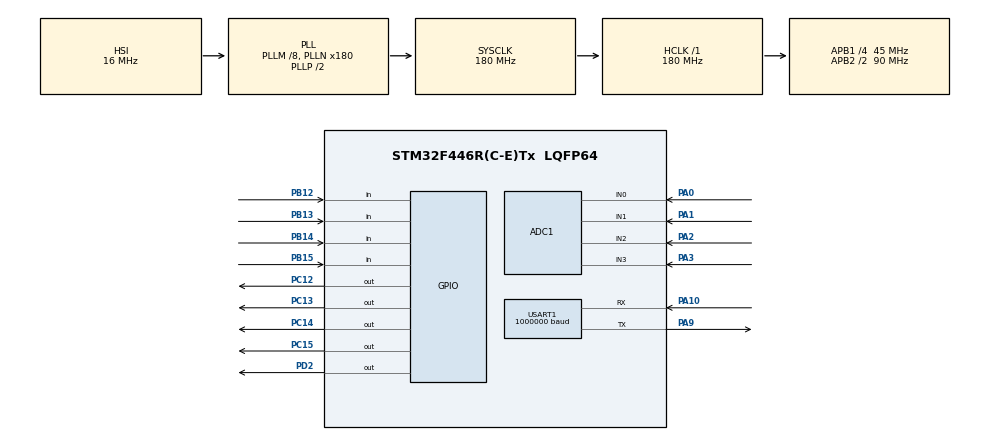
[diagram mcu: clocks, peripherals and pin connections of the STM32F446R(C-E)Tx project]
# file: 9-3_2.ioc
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ADC1.Channel-0\#ChannelRegularConversion=ADC_CHANNEL_0
ADC1.Channel-1\#ChannelRegularConversion=ADC_CHANNEL_1
ADC1.Channel-2\#ChannelRegularConversion=ADC_CHANNEL_2
ADC1.Channel-3\#ChannelRegularConversion=ADC_CHANNEL_3
ADC1.DMAContinuousRequests=ENABLE
ADC1.ExternalTrigConv=ADC_EXTERNALTRIGCONV_T8_TRGO
ADC1.NbrOfConversion=4
ADC1.NbrOfConversionFlag=1
ADC1.Rank-0\#ChannelRegularConversion=1
ADC1.Rank-1\#ChannelRegularConversion=2
ADC1.Rank-2\#ChannelRegularConversion=3
ADC1.Rank-3\#ChannelRegularConversion=4
ADC1.SamplingTime-0\#ChannelRegularConversion=ADC_SAMPLETIME_15CYCLES
ADC1.SamplingTime-1\#ChannelRegularConversion=ADC_SAMPLETIME_15CYCLES
ADC1.SamplingTime-2\#ChannelRegularConversion=ADC_SAMPLETIME_15CYCLES
ADC1.SamplingTime-3\#ChannelRegularConversion=ADC_SAMPLETIME_15CYCLES
ADC1.ScanConvMode=ENABLE
ADC1.master=1
Dma.ADC1.0.Direction=DMA_PERIPH_TO_MEMORY
Dma.ADC1.0.FIFOMode=DMA_FIFOMODE_DISABLE
Dma.ADC1.0.Instance=DMA2_Stream0
Dma.ADC1.0.MemDataAlignment=DMA_MDATAALIGN_WORD
Dma.ADC1.0.MemInc=DMA_MINC_ENABLE
Dma.ADC1.0.Mode=DMA_CIRCULAR
Dma.ADC1.0.PeriphDataAlignment=DMA_PDATAALIGN_WORD
Dma.ADC1.0.PeriphInc=DMA_PINC_DISABLE
Dma.ADC1.0.Priority=DMA_PRIORITY_LOW
Dma.Request0=ADC1
Dma.Request1=USART1_RX
Dma.USART1_RX.1.Direction=DMA_PERIPH_TO_MEMORY
Dma.USART1_RX.1.FIFOMode=DMA_FIFOMODE_DISABLE
Dma.USART1_RX.1.Instance=DMA2_Stream2
Dma.USART1_RX.1.MemDataAlignment=DMA_MDATAALIGN_BYTE
Dma.USART1_RX.1.MemInc=DMA_MINC_ENABLE
Dma.USART1_RX.1.Mode=DMA_CIRCULAR
Dma.USART1_RX.1.PeriphDataAlignment=DMA_PDATAALIGN_BYTE
Dma.USART1_RX.1.PeriphInc=DMA_PINC_DISABLE
Dma.USART1_RX.1.Priority=DMA_PRIORITY_LOW
Mcu.Family=STM32F4
Mcu.Name=STM32F446R(C-E)Tx
Mcu.Package=LQFP64
NVIC.ADC_IRQn=true\:0\:0\:false\:false\:true\:true\:true\:true
NVIC.DMA2_Stream0_IRQn=true\:0\:0\:false\:false\:true\:false\:true\:true
NVIC.DMA2_Stream2_IRQn=true\:0\:0\:false\:false\:true\:false\:true\:true
NVIC.PriorityGroup=NVIC_PRIORITYGROUP_0
NVIC.TIM6_DAC_IRQn=true\:0\:0\:false\:false\:true\:true\:true\:true
NVIC.TIM8_UP_TIM13_IRQn=true\:0\:0\:false\:false\:true\:true\:true\:true
NVIC.USART1_IRQn=true\:0\:0\:false\:false\:true\:true\:true\:true
PA0-WKUP.Signal=ADCx_IN0
PA1.Signal=ADCx_IN1
PA10.Mode=Asynchronous
PA10.Signal=USART1_RX
PA2.Signal=ADCx_IN2
PA3.Signal=ADCx_IN3
PA9.Mode=Asynchronous
PA9.Signal=USART1_TX
PB12.Signal=GPIO_Input
PB13.Signal=GPIO_Input
PB14.Signal=GPIO_Input
PB15.Signal=GPIO_Input
PC12.Signal=GPIO_Output
PC13.Signal=GPIO_Output
PC14-OSC32_IN.Signal=GPIO_Output
PC15-OSC32_OUT.Signal=GPIO_Output
PD2.Signal=GPIO_Output
ProjectManager.HeapSize=0x200
ProjectManager.StackSize=0x400
ProjectManager.TargetToolchain=STM32CubeIDE
RCC.48MHZClocksFreq_Value=84000000
RCC.AHBFreq_Value=180000000
RCC.APB1CLKDivider=RCC_HCLK_DIV4
RCC.APB1Freq_Value=45000000
RCC.APB1TimFreq_Value=90000000
RCC.APB2CLKDivider=RCC_HCLK_DIV2
RCC.APB2Freq_Value=90000000
RCC.APB2TimFreq_Value=180000000
RCC.CortexFreq_Value=180000000
RCC.FLatency-AdvancedSettings=FLASH_LATENCY_5
RCC.HCLKFreq_Value=180000000
RCC.HSE_VALUE=16000000
RCC.HSI_VALUE=16000000
RCC.PLLM=8
RCC.PLLN=180
RCC.SYSCLKFreq_VALUE=180000000
RCC.SYSCLKSource=RCC_SYSCLKSOURCE_PLLCLK
RCC.USBFreq_Value=180000000
RCC.VCOOutputFreq_Value=360000000
SH.ADCx_IN0.0=ADC1_IN0,IN0
SH.ADCx_IN1.0=ADC1_IN1,IN1
SH.ADCx_IN2.0=ADC1_IN2,IN2
SH.ADCx_IN3.0=ADC1_IN3,IN3
TIM6.Period=100-1
TIM6.Prescaler=90-1
TIM8.Period=10000-1
TIM8.TIM_MasterOutputTrigger=TIM_TRGO_UPDATE
USART1.BaudRate=1000000
USART1.VirtualMode=VM_ASYNC
VP_TIM6_VS_ClockSourceINT.Mode=Enable_Timer
VP_TIM8_VS_ClockSourceINT.Mode=Internal
board=NUCLEO-F446RE

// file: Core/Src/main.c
/* USER CODE BEGIN Header */
/**
  ******************************************************************************
  * @file           : main.c
  * @brief          : Main program body
  ******************************************************************************
  * @attention
  *
  * Copyright (c) 2024 STMicroelectronics.
  * All rights reserved.
  *
  * This software is licensed under terms that can be found in the LICENSE file
  * in the root directory of this software component.
  * If no LICENSE file comes with this software, it is provided AS-IS.
  *
  ******************************************************************************
  */
/* USER CODE END Header */
#include "main.h"
#include "adc.h"
#include "dma.h"
#include "tim.h"
#include "usart.h"
#include "gpio.h"

/* USER CODE BEGIN PD */
#define RX_BUFFER_SIZE 256
#define MX28_PACKET_SIZE 8
#define MX28_ID 1
#define MX28_GOAL_POSITION 0x1E
/* USER CODE END PD */

uint8_t PCrxBuffer[RX_BUFFER_SIZE]; // Define the RX buffer

void SystemClock_Config(void);
/* USER CODE BEGIN PFP */
void MX28_SetGoalPosition(uint8_t id, uint16_t position);
/* USER CODE END PFP */

int main(void)
{
  /* USER CODE BEGIN 1 */
  LL_DMA_SetMemoryAddress(DMA2, LL_DMA_STREAM_1, (uint32_t)PCrxBuffer);
  LL_DMA_SetPeriphAddress(DMA2, LL_DMA_STREAM_1, (uint32_t)&USART1->DR);
  LL_DMA_SetDataLength(DMA2, LL_DMA_STREAM_1, RX_BUFFER_SIZE);
  LL_DMA_EnableStream(DMA2, LL_DMA_STREAM_1);
  LL_USART_EnableDMAReq_RX(USART1);
  LL_USART_EnableIT_IDLE(USART1);
  /* USER CODE END 1 */

  /* MCU Configuration--------------------------------------------------------*/

  /* Reset of all peripherals, Initializes the Flash interface and the Systick. */
  HAL_Init();

  /* Configure the system clock */
  SystemClock_Config();

  /* Initialize all configured peripherals */
  MX_GPIO_Init();
  MX_DMA_Init();
  MX_ADC1_Init();
  MX_TIM8_Init();
  MX_TIM6_Init();
  MX_USART1_UART_Init();

  /* Infinite loop */
  /* USER CODE BEGIN WHILE */
  while (1)
  {
    MX28_SetGoalPosition(1, 512);
    HAL_Delay(1000);

    MX28_SetGoalPosition(1, 1023);
    HAL_Delay(1000);
    /* USER CODE END WHILE */

    /* USER CODE BEGIN 3 */
    if(HAL_GPIO_ReadPin(GPIOB, GPIO_PIN_12) == 1)
    {
    	MX28_SetGoalPosition(1, 0);
    }
    if(HAL_GPIO_ReadPin(GPIOB, GPIO_PIN_13) == 1)
        {
        	MX28_SetGoalPosition(1, 512);
        }
    if(HAL_GPIO_ReadPin(GPIOB, GPIO_PIN_15) == 1)
        {
        	MX28_SetGoalPosition(1, 1023);
        }
  }
  /* USER CODE END 3 */
}

void SystemClock_Config(void)
{
  RCC_OscInitTypeDef RCC_OscInitStruct = {0};
  RCC_ClkInitTypeDef RCC_ClkInitStruct = {0};

  /** Configure the main internal regulator output voltage
  */
  __HAL_RCC_PWR_CLK_ENABLE();
  __HAL_PWR_VOLTAGESCALING_CONFIG(PWR_REGULATOR_VOLTAGE_SCALE1);

  /** Initializes the RCC Oscillators according to the specified parameters
  * in the RCC_OscInitTypeDef structure.
  */
  RCC_OscInitStruct.OscillatorType = RCC_OSCILLATORTYPE_HSI;
  RCC_OscInitStruct.HSIState = RCC_HSI_ON;
  RCC_OscInitStruct.HSICalibrationValue = RCC_HSICALIBRATION_DEFAULT;
  RCC_OscInitStruct.PLL.PLLState = RCC_PLL_ON;
  RCC_OscInitStruct.PLL.PLLSource = RCC_PLLSOURCE_HSI;
  RCC_OscInitStruct.PLL.PLLM = 8;
  RCC_OscInitStruct.PLL.PLLN = 180;
  RCC_OscInitStruct.PLL.PLLP = RCC_PLLP_DIV2;
  RCC_OscInitStruct.PLL.PLLQ = 2;
  RCC_OscInitStruct.PLL.PLLR = 2;
  if (HAL_RCC_OscConfig(&RCC_OscInitStruct) != HAL_OK)
  {
    Error_Handler();
  }

  /** Activate the Over-Drive mode
  */
  if (HAL_PWREx_EnableOverDrive() != HAL_OK)
  {
    Error_Handler();
  }

  /** Initializes the CPU, AHB and APB buses clocks
  */
  RCC_ClkInitStruct.ClockType = RCC_CLOCKTYPE_HCLK|RCC_CLOCKTYPE_SYSCLK
                              |RCC_CLOCKTYPE_PCLK1|RCC_CLOCKTYPE_PCLK2;
  RCC_ClkInitStruct.SYSCLKSource = RCC_SYSCLKSOURCE_PLLCLK;
  RCC_ClkInitStruct.AHBCLKDivider = RCC_SYSCLK_DIV1;
  RCC_ClkInitStruct.APB1CLKDivider = RCC_HCLK_DIV4;
  RCC_ClkInitStruct.APB2CLKDivider = RCC_HCLK_DIV2;

  if (HAL_RCC_ClockConfig(&RCC_ClkInitStruct, FLASH_LATENCY_5) != HAL_OK)
  {
    Error_Handler();
  }
}

/* USER CODE BEGIN 4 */
void writePacket(uint8_t packet[], int length)
{
    for (int i = 0; i < length; i++)
    {
        while (!LL_USART_IsActiveFlag_TXE(USART1));
        LL_USART_TransmitData8(USART1, packet[i]);
    }
}

void MX28_SetGoalPosition(uint8_t id, uint16_t position)
{
    uint8_t packet[MX28_PACKET_SIZE];
    uint16_t checksum = 0;

    packet[0] = 0xFF;
    packet[1] = 0xFF;
    packet[2] = id;
    packet[3] = 4;
    packet[4] = 0x03;
    packet[5] = MX28_GOAL_POSITION;
    packet[6] = position & 0xFF;
    packet[7] = (position >> 8) & 0xFF;

    for (int i = 2; i < MX28_PACKET_SIZE - 1; i++)
    {
        checksum += packet[i];
    }
    checksum = ~checksum;
    packet[MX28_PACKET_SIZE - 1] = checksum;

    writePacket(packet, MX28_PACKET_SIZE);
}
/* USER CODE END 4 */

void Error_Handler(void)
{
  __disable_irq();
  while (1)
  {
  }
}
